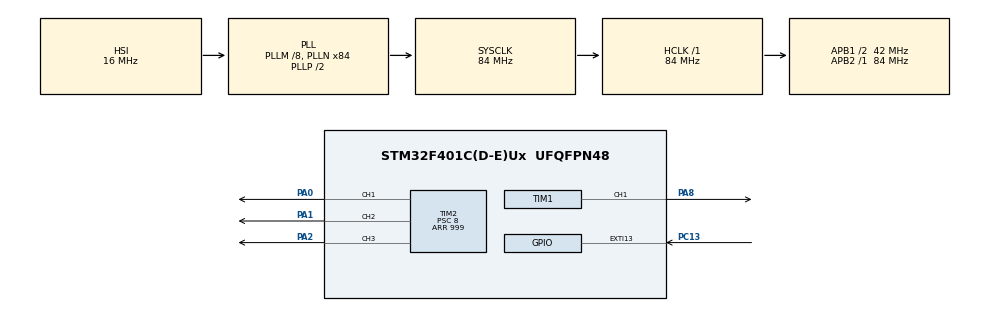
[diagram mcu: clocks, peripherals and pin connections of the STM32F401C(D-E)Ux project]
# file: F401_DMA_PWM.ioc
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Dma.Request0=TIM1_CH1
Dma.TIM1_CH1.0.Direction=DMA_PERIPH_TO_MEMORY
Dma.TIM1_CH1.0.FIFOMode=DMA_FIFOMODE_DISABLE
Dma.TIM1_CH1.0.Instance=DMA2_Stream1
Dma.TIM1_CH1.0.MemDataAlignment=DMA_MDATAALIGN_HALFWORD
Dma.TIM1_CH1.0.MemInc=DMA_MINC_DISABLE
Dma.TIM1_CH1.0.Mode=DMA_NORMAL
Dma.TIM1_CH1.0.PeriphDataAlignment=DMA_PDATAALIGN_HALFWORD
Dma.TIM1_CH1.0.PeriphInc=DMA_PINC_ENABLE
Dma.TIM1_CH1.0.Priority=DMA_PRIORITY_LOW
Mcu.Family=STM32F4
Mcu.Name=STM32F401C(D-E)Ux
Mcu.Package=UFQFPN48
NVIC.DMA2_Stream1_IRQn=true\:1\:0\:true\:false\:true\:false\:true
NVIC.EXTI15_10_IRQn=true\:0\:2\:true\:false\:true\:true\:true
NVIC.PriorityGroup=NVIC_PRIORITYGROUP_2
PA0-WKUP.Signal=S_TIM2_CH1_ETR
PA1.Signal=S_TIM2_CH2
PA13.Mode=Serial_Wire
PA13.Signal=SYS_JTMS-SWDIO
PA14.Mode=Serial_Wire
PA14.Signal=SYS_JTCK-SWCLK
PA2.Signal=S_TIM2_CH3
PA8.Signal=S_TIM1_CH1
PC13-ANTI_TAMP.GPIO_ModeDefaultEXTI=GPIO_MODE_IT_FALLING
PC13-ANTI_TAMP.GPIO_PuPd=GPIO_PULLUP
PC13-ANTI_TAMP.Signal=GPXTI13
PH0\ -\ OSC_IN.Mode=HSE-External-Oscillator
PH0\ -\ OSC_IN.Signal=RCC_OSC_IN
PH1\ -\ OSC_OUT.Mode=HSE-External-Oscillator
PH1\ -\ OSC_OUT.Signal=RCC_OSC_OUT
ProjectManager.HeapSize=0x200
ProjectManager.StackSize=0x400
ProjectManager.TargetToolchain=MDK-ARM V5.27
RCC.48MHZClocksFreq_Value=42000000
RCC.AHBFreq_Value=84000000
RCC.APB1CLKDivider=RCC_HCLK_DIV2
RCC.APB1Freq_Value=42000000
RCC.APB1TimFreq_Value=84000000
RCC.APB2Freq_Value=84000000
RCC.APB2TimFreq_Value=84000000
RCC.CortexFreq_Value=84000000
RCC.HCLKFreq_Value=84000000
RCC.HSE_VALUE=12000000
RCC.HSI_VALUE=16000000
RCC.LSE_VALUE=32768
RCC.PLLM=8
RCC.PLLN=84
RCC.SYSCLKFreq_VALUE=84000000
RCC.SYSCLKSource=RCC_SYSCLKSOURCE_PLLCLK
RCC.VCOOutputFreq_Value=168000000
SH.S_TIM1_CH1.0=TIM1_CH1,PWM Generation1 CH1
SH.S_TIM2_CH1_ETR.0=TIM2_CH1,PWM Generation1 CH1
SH.S_TIM2_CH2.0=TIM2_CH2,PWM Generation2 CH2
SH.S_TIM2_CH3.0=TIM2_CH3,PWM Generation3 CH3
TIM1.Channel-PWM\ Generation1\ CH1=TIM_CHANNEL_1
TIM1.OCPolarity_1=TIM_OCPOLARITY_HIGH
TIM1.Period=104
TIM1.Prescaler=0
TIM2.Channel-PWM\ Generation1\ CH1=TIM_CHANNEL_1
TIM2.Channel-PWM\ Generation2\ CH2=TIM_CHANNEL_2
TIM2.Channel-PWM\ Generation3\ CH3=TIM_CHANNEL_3
TIM2.OCMode_PWM-PWM\ Generation1\ CH1=TIM_OCMODE_PWM2
TIM2.OCMode_PWM-PWM\ Generation2\ CH2=TIM_OCMODE_PWM2
TIM2.OCMode_PWM-PWM\ Generation3\ CH3=TIM_OCMODE_PWM2
TIM2.Period=999
TIM2.Prescaler=8
board=custom

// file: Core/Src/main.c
/* USER CODE BEGIN Header */
/**
  ******************************************************************************
  * @file           : main.c
  * @brief          : Main program body
  ******************************************************************************
  * @attention
  *
  * <h2><center>&copy; Copyright (c) 2023 STMicroelectronics.
  * All rights reserved.</center></h2>
  *
  * This software component is licensed by ST under BSD 3-Clause license,
  * the "License"; You may not use this file except in compliance with the
  * License. You may obtain a copy of the License at:
  *                        opensource.org/licenses/BSD-3-Clause
  *
  ******************************************************************************
  */
/* USER CODE END Header */
#include "main.h"

/* USER CODE BEGIN PD */
#define NUM 300
uint16_t send_Buf[NUM] = {0};
/* USER CODE END PD */

TIM_HandleTypeDef htim1;
TIM_HandleTypeDef htim2;
DMA_HandleTypeDef hdma_tim1_ch1;

void SystemClock_Config(void);
static void MX_GPIO_Init(void);
static void MX_DMA_Init(void);
static void MX_TIM1_Init(void);
static void MX_TIM2_Init(void);

int main(void)
{
  /* USER CODE BEGIN 1 */
    uint16_t color_date=0,i;
  /* USER CODE END 1 */

  /* MCU Configuration--------------------------------------------------------*/

  /* Reset of all peripherals, Initializes the Flash interface and the Systick. */
  HAL_Init();

  /* Configure the system clock */
  SystemClock_Config();

  /* Initialize all configured peripherals */
  MX_GPIO_Init();
  MX_DMA_Init();
  MX_TIM1_Init();
  MX_TIM2_Init();
  /* USER CODE BEGIN 2 */
  HAL_TIM_PWM_Start(&htim2, TIM_CHANNEL_1);
  HAL_TIM_PWM_Start(&htim2, TIM_CHANNEL_2);
  HAL_TIM_PWM_Start(&htim2, TIM_CHANNEL_3);
  /* USER CODE END 2 */

  /* Infinite loop */
  /* USER CODE BEGIN WHILE */
    for (i = 0; i < 8; i++)
    {
        send_Buf[i] =70 ;
    }
    for (i = 8; i < 16; i++)
    {
        send_Buf[i] =35 ;
    }
    for (i = 16; i < 24; i++)
    {
        send_Buf[i] =70 ;
    }
    for(i=24;i<192;i++)
    {
        send_Buf[i] =35*(i%2)+35 ;
    }
  TIM2->CCR1=0;
  TIM2->CCR2=0;
  TIM2->CCR3=0;
  while (1)
  {
    /* USER CODE END WHILE */

    /* USER CODE BEGIN 3 */

//      /*��ɫ��ǿ*/
//      for(color_date=0;color_date<1000;color_date++)
//      {
//          TIM2->CCR1=color_date;
//          HAL_Delay(1);
//      }
//      TIM2->CCR1=999;
//      TIM2->CCR2=0;
//      TIM2->CCR3=0;
//      /*��ɫ��ɫ��ǿ*/
//      for(color_date=0;color_date<1000;color_date++)
//      {
//          TIM2->CCR2=color_date;
//          HAL_Delay(2);
//      }
//      TIM2->CCR1=999;
//      TIM2->CCR2=999;
//      TIM2->CCR3=0;
//       /*��ɫ��ǿ*/
//      for(color_date=0;color_date<1000;color_date++)
//      {
//          TIM2->CCR1=1000-color_date;
//          HAL_Delay(1);
//      }
//      TIM2->CCR1=0;
//      TIM2->CCR2=999;
//      TIM2->CCR3=0;
//      /*��ɫ��ǿ*/
//      for(color_date=0;color_date<1000;color_date++)
//      {
//          TIM2->CCR3=color_date;
//          HAL_Delay(1);
//      }
//      TIM2->CCR1=0;
//      TIM2->CCR2=999;
//      TIM2->CCR3=999;
//      /*��ɫ��ǿ*/
//      for(color_date=0;color_date<1000;color_date++)
//      {
//          TIM2->CCR2=1000-color_date;
//          HAL_Delay(1);
//      }
//      TIM2->CCR1=0;
//      TIM2->CCR2=0;
//      TIM2->CCR3=999;
//      color_date=0;
//      /*��ɫ��ǿ*/
//      for(color_date=0;color_date<500;color_date++)
//      {
//          TIM2->CCR1=color_date;
//          HAL_Delay(2);
//      }
//      TIM2->CCR1=500;
//      TIM2->CCR2=0;
//      TIM2->CCR3=999;
//      /*��ɫ��ǿ*/
//      for(color_date=500;color_date<1000;color_date++)
//      {
//          TIM2->CCR1=color_date;
//          HAL_Delay(2);
//      }
//      TIM2->CCR1=999;
//      TIM2->CCR2=0;
//      TIM2->CCR3=999;
//      for(color_date=0;color_date<1000;color_date++)
//      {
//          TIM2->CCR2=color_date;
//          HAL_Delay(1);
//      }
//      TIM2->CCR1=999;
//      TIM2->CCR2=999;
//      TIM2->CCR3=999;
//      HAL_Delay(1000);
//      TIM2->CCR1=0;
//      TIM2->CCR2=0;
//      TIM2->CCR3=0;
//      HAL_Delay(1000);
        TIM2->CCR3=0;
        HAL_Delay(1000);
        TIM2->CCR3=999;
        HAL_Delay(1000);

  }
  /* USER CODE END 3 */
}

void SystemClock_Config(void)
{
  RCC_OscInitTypeDef RCC_OscInitStruct = {0};
  RCC_ClkInitTypeDef RCC_ClkInitStruct = {0};

  /** Configure the main internal regulator output voltage
  */
  __HAL_RCC_PWR_CLK_ENABLE();
  __HAL_PWR_VOLTAGESCALING_CONFIG(PWR_REGULATOR_VOLTAGE_SCALE2);
  /** Initializes the RCC Oscillators according to the specified parameters
  * in the RCC_OscInitTypeDef structure.
  */
  RCC_OscInitStruct.OscillatorType = RCC_OSCILLATORTYPE_HSI;
  RCC_OscInitStruct.HSIState = RCC_HSI_ON;
  RCC_OscInitStruct.HSICalibrationValue = RCC_HSICALIBRATION_DEFAULT;
  RCC_OscInitStruct.PLL.PLLState = RCC_PLL_ON;
  RCC_OscInitStruct.PLL.PLLSource = RCC_PLLSOURCE_HSI;
  RCC_OscInitStruct.PLL.PLLM = 8;
  RCC_OscInitStruct.PLL.PLLN = 84;
  RCC_OscInitStruct.PLL.PLLP = RCC_PLLP_DIV2;
  RCC_OscInitStruct.PLL.PLLQ = 4;
  if (HAL_RCC_OscConfig(&RCC_OscInitStruct) != HAL_OK)
  {
    Error_Handler();
  }
  /** Initializes the CPU, AHB and APB buses clocks
  */
  RCC_ClkInitStruct.ClockType = RCC_CLOCKTYPE_HCLK|RCC_CLOCKTYPE_SYSCLK
                              |RCC_CLOCKTYPE_PCLK1|RCC_CLOCKTYPE_PCLK2;
  RCC_ClkInitStruct.SYSCLKSource = RCC_SYSCLKSOURCE_PLLCLK;
  RCC_ClkInitStruct.AHBCLKDivider = RCC_SYSCLK_DIV1;
  RCC_ClkInitStruct.APB1CLKDivider = RCC_HCLK_DIV2;
  RCC_ClkInitStruct.APB2CLKDivider = RCC_HCLK_DIV1;

  if (HAL_RCC_ClockConfig(&RCC_ClkInitStruct, FLASH_LATENCY_2) != HAL_OK)
  {
    Error_Handler();
  }
}

static void MX_TIM1_Init(void)
{

  TIM_MasterConfigTypeDef sMasterConfig = {0};
  TIM_OC_InitTypeDef sConfigOC = {0};
  TIM_BreakDeadTimeConfigTypeDef sBreakDeadTimeConfig = {0};

  htim1.Instance = TIM1;
  htim1.Init.Prescaler = 0;
  htim1.Init.CounterMode = TIM_COUNTERMODE_UP;
  htim1.Init.Period = 104;
  htim1.Init.ClockDivision = TIM_CLOCKDIVISION_DIV1;
  htim1.Init.RepetitionCounter = 0;
  htim1.Init.AutoReloadPreload = TIM_AUTORELOAD_PRELOAD_DISABLE;
  if (HAL_TIM_PWM_Init(&htim1) != HAL_OK)
  {
    Error_Handler();
  }
  sMasterConfig.MasterOutputTrigger = TIM_TRGO_RESET;
  sMasterConfig.MasterSlaveMode = TIM_MASTERSLAVEMODE_DISABLE;
  if (HAL_TIMEx_MasterConfigSynchronization(&htim1, &sMasterConfig) != HAL_OK)
  {
    Error_Handler();
  }
  sConfigOC.OCMode = TIM_OCMODE_PWM1;
  sConfigOC.Pulse = 0;
  sConfigOC.OCPolarity = TIM_OCPOLARITY_HIGH;
  sConfigOC.OCNPolarity = TIM_OCNPOLARITY_HIGH;
  sConfigOC.OCFastMode = TIM_OCFAST_DISABLE;
  sConfigOC.OCIdleState = TIM_OCIDLESTATE_RESET;
  sConfigOC.OCNIdleState = TIM_OCNIDLESTATE_RESET;
  if (HAL_TIM_PWM_ConfigChannel(&htim1, &sConfigOC, TIM_CHANNEL_1) != HAL_OK)
  {
    Error_Handler();
  }
  sBreakDeadTimeConfig.OffStateRunMode = TIM_OSSR_DISABLE;
  sBreakDeadTimeConfig.OffStateIDLEMode = TIM_OSSI_DISABLE;
  sBreakDeadTimeConfig.LockLevel = TIM_LOCKLEVEL_OFF;
  sBreakDeadTimeConfig.DeadTime = 0;
  sBreakDeadTimeConfig.BreakState = TIM_BREAK_DISABLE;
  sBreakDeadTimeConfig.BreakPolarity = TIM_BREAKPOLARITY_HIGH;
  sBreakDeadTimeConfig.AutomaticOutput = TIM_AUTOMATICOUTPUT_DISABLE;
  if (HAL_TIMEx_ConfigBreakDeadTime(&htim1, &sBreakDeadTimeConfig) != HAL_OK)
  {
    Error_Handler();
  }
  HAL_TIM_MspPostInit(&htim1);

}

static void MX_TIM2_Init(void)
{

  TIM_MasterConfigTypeDef sMasterConfig = {0};
  TIM_OC_InitTypeDef sConfigOC = {0};

  htim2.Instance = TIM2;
  htim2.Init.Prescaler = 8;
  htim2.Init.CounterMode = TIM_COUNTERMODE_UP;
  htim2.Init.Period = 999;
  htim2.Init.ClockDivision = TIM_CLOCKDIVISION_DIV1;
  htim2.Init.AutoReloadPreload = TIM_AUTORELOAD_PRELOAD_DISABLE;
  if (HAL_TIM_PWM_Init(&htim2) != HAL_OK)
  {
    Error_Handler();
  }
  sMasterConfig.MasterOutputTrigger = TIM_TRGO_RESET;
  sMasterConfig.MasterSlaveMode = TIM_MASTERSLAVEMODE_DISABLE;
  if (HAL_TIMEx_MasterConfigSynchronization(&htim2, &sMasterConfig) != HAL_OK)
  {
    Error_Handler();
  }
  sConfigOC.OCMode = TIM_OCMODE_PWM2;
  sConfigOC.Pulse = 0;
  sConfigOC.OCPolarity = TIM_OCPOLARITY_HIGH;
  sConfigOC.OCFastMode = TIM_OCFAST_DISABLE;
  if (HAL_TIM_PWM_ConfigChannel(&htim2, &sConfigOC, TIM_CHANNEL_1) != HAL_OK)
  {
    Error_Handler();
  }
  if (HAL_TIM_PWM_ConfigChannel(&htim2, &sConfigOC, TIM_CHANNEL_2) != HAL_OK)
  {
    Error_Handler();
  }
  if (HAL_TIM_PWM_ConfigChannel(&htim2, &sConfigOC, TIM_CHANNEL_3) != HAL_OK)
  {
    Error_Handler();
  }
  HAL_TIM_MspPostInit(&htim2);

}

static void MX_DMA_Init(void)
{

  /* DMA controller clock enable */
  __HAL_RCC_DMA2_CLK_ENABLE();

  /* DMA interrupt init */
  /* DMA2_Stream1_IRQn interrupt configuration */
  HAL_NVIC_SetPriority(DMA2_Stream1_IRQn, 1, 0);
  HAL_NVIC_EnableIRQ(DMA2_Stream1_IRQn);

}

static void MX_GPIO_Init(void)
{
  GPIO_InitTypeDef GPIO_InitStruct = {0};

  /* GPIO Ports Clock Enable */
  __HAL_RCC_GPIOC_CLK_ENABLE();
  __HAL_RCC_GPIOH_CLK_ENABLE();
  __HAL_RCC_GPIOA_CLK_ENABLE();

  /*Configure GPIO pin : PC13 */
  GPIO_InitStruct.Pin = GPIO_PIN_13;
  GPIO_InitStruct.Mode = GPIO_MODE_IT_FALLING;
  GPIO_InitStruct.Pull = GPIO_PULLUP;
  HAL_GPIO_Init(GPIOC, &GPIO_InitStruct);

  /* EXTI interrupt init*/
  HAL_NVIC_SetPriority(EXTI15_10_IRQn, 0, 2);
  HAL_NVIC_EnableIRQ(EXTI15_10_IRQn);

}

/* USER CODE BEGIN 4 */
// PWM DMA ��ɻص�����
void HAL_TIM_PWM_PulseFinishedCallback(TIM_HandleTypeDef *htim)
{
    TIM2->CCR1=0;
	HAL_TIM_PWM_Stop_DMA(&htim1, TIM_CHANNEL_1);
}

void HAL_GPIO_EXTI_Callback(uint16_t GPIO_Pin)
{
    if(GPIO_Pin==GPIO_PIN_13)
    {
        TIM2->CCR1=999;
         HAL_TIM_PWM_Start_DMA(&htim1, TIM_CHANNEL_1,(uint32_t*)send_Buf,NUM);
    }

}

/* USER CODE END 4 */

void Error_Handler(void)
{
  __disable_irq();
  while (1)
  {
  }
}

/************************ (C) COPYRIGHT STMicroelectronics *****END OF FILE****/
